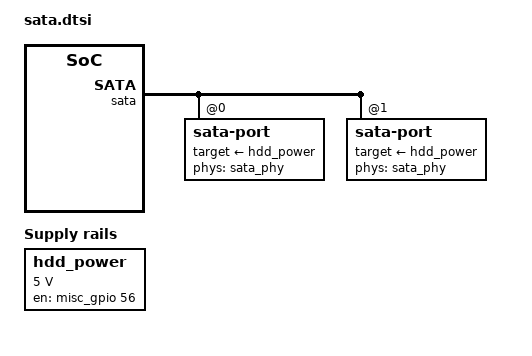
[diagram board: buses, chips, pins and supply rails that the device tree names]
// SPDX-License-Identifier: (GPL-2.0-or-later OR MIT)
/*
 * BPI-W2: SATA (docs/sata.md). Appended to the board DTS, which already
 * includes the GIC and RTD1295 reset headers.
 *
 * The AHCI controller is the generic one (ahci_platform); its PHYs need
 * drivers/sata/phy-rtd1295-sata.c. Both ports are described; the board
 * has a connector for each (CN12/CN15, schematic "SATA/USB HUB").
 */
#include <dt-bindings/gpio/gpio.h>

/ {
	/* 5VS_HDD and 12VS_HDD: load switches enabled by HDD0_PWR = GPIO 56 */
	hdd_power: regulator-hdd-power {
		compatible = "regulator-fixed";
		regulator-name = "hdd-power";
		regulator-min-microvolt = <5000000>;
		regulator-max-microvolt = <5000000>;
		gpio = <&misc_gpio 56 GPIO_ACTIVE_HIGH>;
		enable-active-high;
	};
};

&rbus {
	/* the AHCI block's wrapper registers, with the PHYs' MDIO */
	sata_phy: phy@3ff00 {
		compatible = "realtek,rtd1295-sata-phy";
		reg = <0x3ff00 0x100>;
		clocks = <&crt_clk 7>, <&crt_clk 58>;	/* CLK_EN1 7, CLK_EN2 26: SATA_ALIVE_0/1 */
		clock-names = "alive0", "alive1";
		resets = <&reset1 RTD1295_RSTN_SATA_PHY_0>,
			 <&reset1 RTD1295_RSTN_SATA_PHY_POW_0>,
			 <&reset4 RTD1295_RSTN_SATA_PHY_1>,
			 <&reset4 RTD1295_RSTN_SATA_PHY_POW_1>;
		reset-names = "phy0", "pow0", "phy1", "pow1";
		realtek,sb2 = <&sb2>;			/* SATA_PHY_CTRL, chip revision */
		#phy-cells = <1>;
	};

	sata: sata@3f000 {
		compatible = "realtek,rtd1295-ahci", "generic-ahci";
		reg = <0x3f000 0xf00>;
		interrupts = <GIC_SPI 28 IRQ_TYPE_LEVEL_HIGH>;
		clocks = <&crt_clk 2>, <&crt_clk 57>;	/* CLK_EN1 2, CLK_EN2 25: SATA_0/1 */
		resets = <&reset1 RTD1295_RSTN_SATA_0>,
			 <&reset4 RTD1295_RSTN_SATA_1>;
		ports-implemented = <0x3>;		/* reads 0 out of reset */
		#address-cells = <1>;
		#size-cells = <0>;

		sata-port@0 {
			reg = <0>;
			phys = <&sata_phy 0>;
			target-supply = <&hdd_power>;
		};

		sata-port@1 {
			reg = <1>;
			phys = <&sata_phy 1>;
			target-supply = <&hdd_power>;
		};
	};
};
